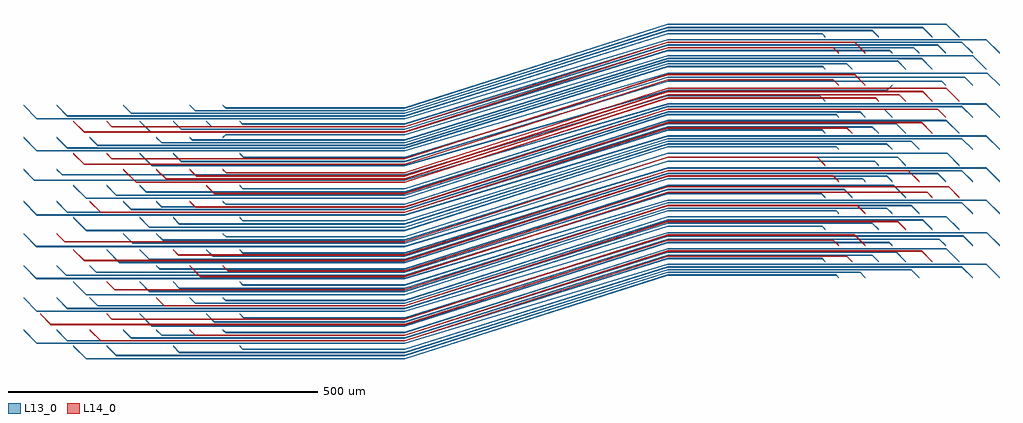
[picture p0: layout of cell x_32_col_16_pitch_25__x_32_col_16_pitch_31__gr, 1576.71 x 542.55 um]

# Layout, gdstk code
import gdstk
lib = gdstk.Library(unit=1e-6, precision=1e-09)
def R(c, l, rs):  # rectangles x0, y0, x1, y1
    for r in rs: c.add(gdstk.rectangle(r[:2], r[2:], *l))
def A(c, l, x, y, w, h, nx, ny, dx, dy):  # array of equal rectangles
    R(c, l, [(x+i*dx, y+j*dy, x+i*dx+w, y+j*dy+h) for i in range(nx) for j in range(ny)])
def P(c, l, *ps):  # polygons
    for p in ps: c.add(gdstk.Polygon(p, *l))
L13_0 = (13, 0)
L14_0 = (14, 0)

x_32_col_16_pitch_25__x_ = lib.new_cell('x_32_col_16_pitch_25__x_32_col_16_pitch_31__gr')
A(x_32_col_16_pitch_25__x_, L13_0, 1360.153, 1466.224, 514.847, 2, 1, 3, 0, 103.68)
A(x_32_col_16_pitch_25__x_, L13_0, 1510.865, 1476.592, 364.135, 2, 1, 3, 0, 103.68)
A(x_32_col_16_pitch_25__x_, L13_0, 1462.352, 1575.088, 412.648, 2, 1, 3, 0, 51.84)
A(x_32_col_16_pitch_25__x_, L13_0, 1613.064, 1585.456, 261.936, 2, 1, 4, 0, 51.84)
A(x_32_col_16_pitch_25__x_, L13_0, 2300, 1601.56, 271.46, 2, 1, 3, 0, 103.68)
A(x_32_col_16_pitch_25__x_, L13_0, 2300, 1610.2, 392.72, 2, 1, 3, 0, 103.68)
A(x_32_col_16_pitch_25__x_, L13_0, 2300, 1680.184, 248.946, 2, 1, 3, 0, 155.52)
A(x_32_col_16_pitch_25__x_, L13_0, 2300, 1685.368, 330.362, 2, 1, 3, 0, 155.52)
A(x_32_col_16_pitch_25__x_, L13_0, 2300, 1695.736, 449.894, 2, 1, 3, 0, 155.52)
A(x_32_col_16_pitch_25__x_, L13_0, 2300, 1709.56, 353.74, 2, 1, 3, 0, 51.84)
A(x_32_col_16_pitch_25__x_, L13_0, 2300, 1718.2, 475, 2, 1, 4, 0, 51.84)
A(x_32_col_16_pitch_25__x_, L13_0, 2300, 1722.52, 513.982, 2, 1, 4, 0, 51.84)
R(x_32_col_16_pitch_25__x_, L13_0, [(1408.662,1471.408,1875,1473.408), (1613.064,1481.776,1875,1483.776), (1280.472,1491.28,1875,1493.28), (1329.85,1495.6,1875,1497.6), (1432.917,1499.92,1875,1501.92), (1482.29,1504.24,1875,1506.24), (1585.36,1508.56,1875,1510.56), (1466.24,1519.36,1875,1521.36), (1567.15,1525.84,1875,1527.84), (1614.36,1532.32,1875,1534.32), (1280.472,1543.12,1875,1545.12), (1329.85,1547.44,1875,1549.44), (1379.22,1551.76,1875,1553.76), (1535.98,1556.08,1875,1558.08), (1585.36,1560.4,1875,1562.4), (1279.608,1595.824,1875,1597.824), (1328.122,1601.008,1875,1603.008), (2300,1605.88,2610.44,1607.88), (1376.628,1606.192,1875,1608.192), (1478.834,1611.376,1875,1613.376), (2300,1614.52,2775,1616.52), (2300,1618.84,2813.982,1620.84), (1413.846,1621.744,1875,1623.744), (2300,1628.344,2548.946,1630.344), (1564.558,1632.112,1875,1634.112), (2300,1633.528,2630.362,1635.528), (2300,1638.712,2668.478,1640.712), (2300,1643.896,2749.894,1645.896), (1279.608,1647.664,1875,1649.664), (1435.509,1652.848,1875,1654.848), (2300,1654.264,2657.196,1656.264), (1484.018,1658.032,1875,1660.032), (2300,1659.448,2738.612,1661.448), (1586.224,1663.216,1875,1665.216), (2300,1664.632,2776.728,1666.632), (2300,1669.816,2814.846,1671.816), (2300,1690.552,2711.778,1692.552), (1280.472,1698.64,1875,1700.64), (1329.85,1702.96,1875,1704.96), (1432.917,1707.28,1875,1709.28), (1482.29,1711.6,1875,1713.6), (1585.36,1715.92,1875,1717.92), (1360.153,1725.424,1875,1727.424), (1408.662,1730.608,1875,1732.608), (2300,1733.32,2547.65,1735.32), (1457.168,1735.792,1875,1737.792), (2300,1739.8,2584.47,1741.8), (2300,1746.28,2664.59,1748.28), (1276.152,1754.8,1875,1756.8), (2300,1757.08,2614.76,1759.08), (1321.21,1763.44,1875,1765.44), (2300,1765.72,2736.02,1767.72), (1466.24,1778.56,1875,1780.56), (1513.457,1785.04,1875,1787.04), (2300,1785.16,2634.25,1787.16), (1614.36,1791.52,1875,1793.52), (2300,1791.64,2671.07,1793.64), (2300,1798.12,2751.19,1800.12), (1280.472,1802.32,1875,1804.32), (1329.85,1806.64,1875,1808.64), (1379.22,1810.96,1875,1812.96), (1482.29,1815.28,1875,1817.28), (1531.66,1819.6,1875,1821.6), (1585.36,1828.24,1875,1830.24), (1464.08,1832.56,1875,1834.56), (1513.457,1836.88,1875,1838.88), (1562.83,1841.2,1875,1843.2), (1612.2,1845.52,1875,1847.52), (2300,1846.072,2668.478,1848.072), (1280.472,1854.16,1875,1856.16), (1329.85,1858.48,1875,1860.48), (2300,1860.76,2571.46,1862.76), (1432.917,1862.8,1875,1864.8), (2300,1865.08,2610.44,1867.08), (1535.98,1867.12,1875,1869.12), (2300,1869.4,2649.42,1871.4), (1585.36,1871.44,1875,1873.44), (2300,1891,2545.49,1893), (2300,1899.64,2653.74,1901.64), (2300,1914.76,2742.5,1916.76), (2300,1921.24,2779.32,1923.24), (2300,1927.72,2816.142,1929.72), (2300,1938.52,2549.81,1940.52), (2300,1942.84,2588.79,1944.84), (2300,1947.16,2671.07,1949.16), (2300,1951.48,2710.05,1953.48), (2300,1955.8,2792.332,1957.8), (2300,1964.44,2658.06,1966.44), (2300,1968.76,2697.04,1970.76), (2300,1973.08,2736.02,1975.08), (2300,1977.4,2775,1979.4), (2300,1981.72,2813.982,1983.72), (2300,2001.592,2711.778,2003.592)])
P(x_32_col_16_pitch_25__x_, L13_0, [(2554.13,1986.04),(2554.13,1988.04),(2548.946,1993.224),(2548.946,1991.224)],
  [(2300,1991.224),(2300,1993.224),(1875,1860.48),(1875,1858.48)],
  [(1329.85,1858.48),(1329.85,1860.48),(1312.57,1877.76),(1312.57,1875.76)],
  [(2640.73,1986.04),(2640.73,1988.04),(2630.362,1998.408),(2630.362,1996.408)],
  [(2300,1996.408),(2300,1998.408),(1875,1864.8),(1875,1862.8)],
  [(1432.917,1862.8),(1432.917,1864.8),(1419.957,1877.76),(1419.957,1875.76)],
  [(2727.33,1986.04),(2727.33,1988.04),(2711.778,2003.592),(2711.778,2001.592)],
  [(2300,2001.592),(2300,2003.592),(1875,1869.12),(1875,1867.12)],
  [(1535.98,1867.12),(1535.98,1869.12),(1527.34,1877.76),(1527.34,1875.76)],
  [(2770.63,1986.04),(2770.63,1988.04),(2749.894,2008.776),(2749.894,2006.776)],
  [(2300,2006.776),(2300,2008.776),(1875,1873.44),(1875,1871.44)],
  [(1585.36,1871.44),(1585.36,1873.44),(1581.04,1877.76),(1581.04,1875.76)],
  [(2662.38,1960.12),(2662.38,1962.12),(2658.06,1966.44),(2658.06,1964.44)],
  [(2300,1964.44),(2300,1966.44),(1875,1834.56),(1875,1832.56)],
  [(1464.08,1832.56),(1464.08,1834.56),(1446.8,1851.84),(1446.8,1849.84)],
  [(2705.68,1960.12),(2705.68,1962.12),(2697.04,1970.76),(2697.04,1968.76)],
  [(2300,1968.76),(2300,1970.76),(1875,1838.88),(1875,1836.88)],
  [(1513.457,1836.88),(1513.457,1838.88),(1500.497,1851.84),(1500.497,1849.84)],
  [(2748.98,1960.12),(2748.98,1962.12),(2736.02,1975.08),(2736.02,1973.08)],
  [(2300,1973.08),(2300,1975.08),(1875,1843.2),(1875,1841.2)],
  [(1562.83,1841.2),(1562.83,1843.2),(1554.19,1851.84),(1554.19,1849.84)],
  [(2792.28,1960.12),(2792.28,1962.12),(2775,1979.4),(2775,1977.4)],
  [(2300,1977.4),(2300,1979.4),(1875,1847.52),(1875,1845.52)],
  [(1612.2,1845.52),(1612.2,1847.52),(1607.88,1851.84),(1607.88,1849.84)],
  [(2835.582,1960.12),(2835.582,1962.12),(2813.982,1983.72),(2813.982,1981.72)],
  [(2300,1981.72),(2300,1983.72),(1875,1856.16),(1875,1854.16)],
  [(1280.472,1854.16),(1280.472,1856.16),(1258.872,1877.76),(1258.872,1875.76)],
  [(2554.13,1934.2),(2554.13,1936.2),(2549.81,1940.52),(2549.81,1938.52)],
  [(2300,1938.52),(2300,1940.52),(1875,1808.64),(1875,1806.64)],
  [(1329.85,1806.64),(1329.85,1808.64),(1312.57,1825.92),(1312.57,1823.92)],
  [(2597.43,1934.2),(2597.43,1936.2),(2588.79,1944.84),(2588.79,1942.84)],
  [(2300,1942.84),(2300,1944.84),(1875,1812.96),(1875,1810.96)],
  [(1379.22,1810.96),(1379.22,1812.96),(1366.26,1825.92),(1366.26,1823.92)],
  [(2684.03,1934.2),(2684.03,1936.2),(2671.07,1949.16),(2671.07,1947.16)],
  [(2300,1947.16),(2300,1949.16),(1875,1817.28),(1875,1815.28)],
  [(1482.29,1815.28),(1482.29,1817.28),(1473.65,1825.92),(1473.65,1823.92)],
  [(2727.33,1934.2),(2727.33,1936.2),(2710.05,1953.48),(2710.05,1951.48)],
  [(2300,1951.48),(2300,1953.48),(1875,1821.6),(1875,1819.6)],
  [(1531.66,1819.6),(1531.66,1821.6),(1527.34,1825.92),(1527.34,1823.92)],
  [(2813.932,1934.2),(2813.932,1936.2),(2792.332,1957.8),(2792.332,1955.8)],
  [(2300,1955.8),(2300,1957.8),(1875,1830.24),(1875,1828.24)],
  [(1585.36,1828.24),(1585.36,1830.24),(1581.04,1825.92),(1581.04,1823.92)],
  [(2662.38,1908.28),(2662.38,1910.28),(2653.74,1901.64),(2653.74,1899.64)],
  [(2300,1899.64),(2300,1901.64),(1875,1780.56),(1875,1778.56)],
  [(1466.24,1778.56),(1466.24,1780.56),(1446.8,1800),(1446.8,1798)],
  [(2748.98,1908.28),(2748.98,1910.28),(2742.5,1916.76),(2742.5,1914.76)],
  [(2300,1914.76),(2300,1916.76),(1875,1787.04),(1875,1785.04)],
  [(1513.457,1785.04),(1513.457,1787.04),(1500.497,1800),(1500.497,1798)],
  [(2792.28,1908.28),(2792.28,1910.28),(2779.32,1923.24),(2779.32,1921.24)],
  [(2300,1921.24),(2300,1923.24),(1875,1793.52),(1875,1791.52)],
  [(1614.36,1791.52),(1614.36,1793.52),(1607.88,1800),(1607.88,1798)],
  [(2835.582,1908.28),(2835.582,1910.28),(2816.142,1929.72),(2816.142,1927.72)],
  [(2300,1927.72),(2300,1929.72),(1875,1804.32),(1875,1802.32)],
  [(1280.472,1802.32),(1280.472,1804.32),(1258.872,1825.92),(1258.872,1823.92)],
  [(2554.13,1882.36),(2554.13,1884.36),(2545.49,1893),(2545.49,1891)],
  [(2300,1891),(2300,1893),(1875,1765.44),(1875,1763.44)],
  [(1321.21,1763.44),(1321.21,1765.44),(1312.57,1774.08),(1312.57,1772.08)],
  [(2575.78,1856.44),(2575.78,1858.44),(2571.46,1862.76),(2571.46,1860.76)],
  [(2300,1860.76),(2300,1862.76),(1875,1727.424),(1875,1725.424)],
  [(1360.153,1725.424),(1360.153,1727.424),(1339.417,1748.16),(1339.417,1746.16)],
  [(2619.08,1856.44),(2619.08,1858.44),(2610.44,1867.08),(2610.44,1865.08)],
  [(2300,1865.08),(2300,1867.08),(1875,1732.608),(1875,1730.608)],
  [(1408.662,1730.608),(1408.662,1732.608),(1393.11,1748.16),(1393.11,1746.16)],
  [(2662.38,1856.44),(2662.38,1858.44),(2649.42,1871.4),(2649.42,1869.4)],
  [(2300,1869.4),(2300,1871.4),(1875,1737.792),(1875,1735.792)],
  [(1457.168,1735.792),(1457.168,1737.792),(1446.8,1748.16),(1446.8,1746.16)],
  [(2792.28,1856.44),(2792.28,1858.44),(2775,1875.72),(2775,1873.72)],
  [(2300,1873.72),(2300,1875.72),(1875,1742.976),(1875,1740.976)],
  [(1613.064,1740.976),(1613.064,1742.976),(1607.88,1748.16),(1607.88,1746.16)],
  [(2835.582,1856.44),(2835.582,1858.44),(2813.982,1880.04),(2813.982,1878.04)],
  [(2300,1878.04),(2300,1880.04),(1875,1756.8),(1875,1754.8)],
  [(1276.152,1754.8),(1276.152,1756.8),(1258.872,1774.08),(1258.872,1772.08)],
  [(2554.13,1830.52),(2554.13,1832.52),(2548.946,1837.704),(2548.946,1835.704)],
  [(2300,1835.704),(2300,1837.704),(1875,1704.96),(1875,1702.96)],
  [(1329.85,1702.96),(1329.85,1704.96),(1312.57,1722.24),(1312.57,1720.24)],
  [(2640.73,1830.52),(2640.73,1832.52),(2630.362,1842.888),(2630.362,1840.888)],
  [(2300,1840.888),(2300,1842.888),(1875,1709.28),(1875,1707.28)],
  [(1432.917,1707.28),(1432.917,1709.28),(1419.957,1722.24),(1419.957,1720.24)],
  [(2684.03,1830.52),(2684.03,1832.52),(2668.478,1848.072),(2668.478,1846.072)],
  [(2300,1846.072),(2300,1848.072),(1875,1713.6),(1875,1711.6)],
  [(1482.29,1711.6),(1482.29,1713.6),(1473.65,1722.24),(1473.65,1720.24)],
  [(2770.63,1830.52),(2770.63,1832.52),(2749.894,1853.256),(2749.894,1851.256)],
  [(2300,1851.256),(2300,1853.256),(1875,1717.92),(1875,1715.92)],
  [(1585.36,1715.92),(1585.36,1717.92),(1581.04,1722.24),(1581.04,1720.24)],
  [(2575.78,1804.6),(2575.78,1806.6),(2571.46,1810.92),(2571.46,1808.92)],
  [(2300,1808.92),(2300,1810.92),(1875,1675.584),(1875,1673.584)],
  [(1360.153,1673.584),(1360.153,1675.584),(1339.417,1696.32),(1339.417,1694.32)],
  [(2662.38,1804.6),(2662.38,1806.6),(2653.74,1815.24),(2653.74,1813.24)],
  [(2300,1813.24),(2300,1815.24),(1875,1680.768),(1875,1678.768)],
  [(1462.352,1678.768),(1462.352,1680.768),(1446.8,1696.32),(1446.8,1694.32)],
  [(2705.68,1804.6),(2705.68,1806.6),(2692.72,1819.56),(2692.72,1817.56)],
  [(2300,1817.56),(2300,1819.56),(1875,1685.952),(1875,1683.952)],
  [(1510.865,1683.952),(1510.865,1685.952),(1500.497,1696.32),(1500.497,1694.32)],
  [(2792.28,1804.6),(2792.28,1806.6),(2775,1823.88),(2775,1821.88)],
  [(2300,1821.88),(2300,1823.88),(1875,1691.136),(1875,1689.136)],
  [(1613.064,1689.136),(1613.064,1691.136),(1607.88,1696.32),(1607.88,1694.32)],
  [(2835.582,1804.6),(2835.582,1806.6),(2813.982,1828.2),(2813.982,1826.2)],
  [(2300,1826.2),(2300,1828.2),(1875,1700.64),(1875,1698.64)],
  [(1280.472,1698.64),(1280.472,1700.64),(1258.872,1722.24),(1258.872,1720.24)],
  [(2640.73,1778.68),(2640.73,1780.68),(2634.25,1787.16),(2634.25,1785.16)],
  [(2300,1785.16),(2300,1787.16),(1875,1654.848),(1875,1652.848)],
  [(1435.509,1652.848),(1435.509,1654.848),(1419.957,1670.4),(1419.957,1668.4)],
  [(2684.03,1778.68),(2684.03,1780.68),(2671.07,1793.64),(2671.07,1791.64)],
  [(2300,1791.64),(2300,1793.64),(1875,1660.032),(1875,1658.032)],
  [(1484.018,1658.032),(1484.018,1660.032),(1473.65,1670.4),(1473.65,1668.4)],
  [(2770.63,1778.68),(2770.63,1780.68),(2751.19,1800.12),(2751.19,1798.12)],
  [(2300,1798.12),(2300,1800.12),(1875,1665.216),(1875,1663.216)],
  [(1586.224,1663.216),(1586.224,1665.216),(1581.04,1670.4),(1581.04,1668.4)],
  [(2619.08,1752.76),(2619.08,1754.76),(2614.76,1759.08),(2614.76,1757.08)],
  [(2300,1757.08),(2300,1759.08),(1875,1623.744),(1875,1621.744)],
  [(1413.846,1621.744),(1413.846,1623.744),(1393.11,1644.48),(1393.11,1642.48)],
  [(2662.38,1752.76),(2662.38,1754.76),(2653.74,1763.4),(2653.74,1761.4)],
  [(2300,1761.4),(2300,1763.4),(1875,1628.928),(1875,1626.928)],
  [(1462.352,1626.928),(1462.352,1628.928),(1446.8,1644.48),(1446.8,1642.48)],
  [(2748.98,1752.76),(2748.98,1754.76),(2736.02,1767.72),(2736.02,1765.72)],
  [(2300,1765.72),(2300,1767.72),(1875,1634.112),(1875,1632.112)],
  [(1564.558,1632.112),(1564.558,1634.112),(1554.19,1644.48),(1554.19,1642.48)],
  [(2792.28,1752.76),(2792.28,1754.76),(2775,1772.04),(2775,1770.04)],
  [(2300,1770.04),(2300,1772.04),(1875,1639.296),(1875,1637.296)],
  [(1613.064,1637.296),(1613.064,1639.296),(1607.88,1644.48),(1607.88,1642.48)],
  [(2835.582,1752.76),(2835.582,1754.76),(2813.982,1776.36),(2813.982,1774.36)],
  [(2300,1774.36),(2300,1776.36),(1875,1649.664),(1875,1647.664)],
  [(1279.608,1647.664),(1279.608,1649.664),(1258.872,1670.4),(1258.872,1668.4)],
  [(2554.13,1726.84),(2554.13,1728.84),(2547.65,1735.32),(2547.65,1733.32)],
  [(2300,1733.32),(2300,1735.32),(1875,1603.008),(1875,1601.008)],
  [(1328.122,1601.008),(1328.122,1603.008),(1312.57,1618.56),(1312.57,1616.56)],
  [(2597.43,1726.84),(2597.43,1728.84),(2584.47,1741.8),(2584.47,1739.8)],
  [(2300,1739.8),(2300,1741.8),(1875,1608.192),(1875,1606.192)],
  [(1376.628,1606.192),(1376.628,1608.192),(1366.26,1618.56),(1366.26,1616.56)],
  [(2684.03,1726.84),(2684.03,1728.84),(2664.59,1748.28),(2664.59,1746.28)],
  [(2300,1746.28),(2300,1748.28),(1875,1613.376),(1875,1611.376)],
  [(1478.834,1611.376),(1478.834,1613.376),(1473.65,1618.56),(1473.65,1616.56)],
  [(2575.78,1700.92),(2575.78,1702.92),(2571.46,1707.24),(2571.46,1705.24)],
  [(2300,1705.24),(2300,1707.24),(1875,1571.904),(1875,1569.904)],
  [(1360.153,1569.904),(1360.153,1571.904),(1339.417,1592.64),(1339.417,1590.64)],
  [(2662.38,1700.92),(2662.38,1702.92),(2653.74,1711.56),(2653.74,1709.56)],
  [(2300,1709.56),(2300,1711.56),(1875,1577.088),(1875,1575.088)],
  [(1462.352,1575.088),(1462.352,1577.088),(1446.8,1592.64),(1446.8,1590.64)],
  [(2705.68,1700.92),(2705.68,1702.92),(2692.72,1715.88),(2692.72,1713.88)],
  [(2300,1713.88),(2300,1715.88),(1875,1582.272),(1875,1580.272)],
  [(1510.865,1580.272),(1510.865,1582.272),(1500.497,1592.64),(1500.497,1590.64)],
  [(2792.28,1700.92),(2792.28,1702.92),(2775,1720.2),(2775,1718.2)],
  [(2300,1718.2),(2300,1720.2),(1875,1587.456),(1875,1585.456)],
  [(1613.064,1585.456),(1613.064,1587.456),(1607.88,1592.64),(1607.88,1590.64)],
  [(2835.582,1700.92),(2835.582,1702.92),(2813.982,1724.52),(2813.982,1722.52)],
  [(2300,1722.52),(2300,1724.52),(1875,1597.824),(1875,1595.824)],
  [(1279.608,1595.824),(1279.608,1597.824),(1258.872,1618.56),(1258.872,1616.56)],
  [(2554.13,1675),(2554.13,1677),(2548.946,1682.184),(2548.946,1680.184)],
  [(2300,1680.184),(2300,1682.184),(1875,1549.44),(1875,1547.44)],
  [(1329.85,1547.44),(1329.85,1549.44),(1312.57,1566.72),(1312.57,1564.72)],
  [(2640.73,1675),(2640.73,1677),(2630.362,1687.368),(2630.362,1685.368)],
  [(2300,1685.368),(2300,1687.368),(1875,1553.76),(1875,1551.76)],
  [(1379.22,1551.76),(1379.22,1553.76),(1366.26,1566.72),(1366.26,1564.72)],
  [(2727.33,1675),(2727.33,1677),(2711.778,1692.552),(2711.778,1690.552)],
  [(2300,1690.552),(2300,1692.552),(1875,1558.08),(1875,1556.08)],
  [(1535.98,1556.08),(1535.98,1558.08),(1527.34,1566.72),(1527.34,1564.72)],
  [(2770.63,1675),(2770.63,1677),(2749.894,1697.736),(2749.894,1695.736)],
  [(2300,1695.736),(2300,1697.736),(1875,1562.4),(1875,1560.4)],
  [(1585.36,1560.4),(1585.36,1562.4),(1581.04,1566.72),(1581.04,1564.72)],
  [(2662.38,1649.08),(2662.38,1651.08),(2657.196,1656.264),(2657.196,1654.264)],
  [(2300,1654.264),(2300,1656.264),(1875,1521.36),(1875,1519.36)],
  [(1466.24,1519.36),(1466.24,1521.36),(1446.8,1540.8),(1446.8,1538.8)],
  [(2748.98,1649.08),(2748.98,1651.08),(2738.612,1661.448),(2738.612,1659.448)],
  [(2300,1659.448),(2300,1661.448),(1875,1527.84),(1875,1525.84)],
  [(1567.15,1525.84),(1567.15,1527.84),(1554.19,1540.8),(1554.19,1538.8)],
  [(2792.28,1649.08),(2792.28,1651.08),(2776.728,1666.632),(2776.728,1664.632)],
  [(2300,1664.632),(2300,1666.632),(1875,1534.32),(1875,1532.32)],
  [(1614.36,1532.32),(1614.36,1534.32),(1607.88,1540.8),(1607.88,1538.8)],
  [(2835.582,1649.08),(2835.582,1651.08),(2814.846,1671.816),(2814.846,1669.816)],
  [(2300,1669.816),(2300,1671.816),(1875,1545.12),(1875,1543.12)],
  [(1280.472,1543.12),(1280.472,1545.12),(1258.872,1566.72),(1258.872,1564.72)],
  [(2554.13,1623.16),(2554.13,1625.16),(2548.946,1630.344),(2548.946,1628.344)],
  [(2300,1628.344),(2300,1630.344),(1875,1497.6),(1875,1495.6)],
  [(1329.85,1495.6),(1329.85,1497.6),(1312.57,1514.88),(1312.57,1512.88)],
  [(2640.73,1623.16),(2640.73,1625.16),(2630.362,1635.528),(2630.362,1633.528)],
  [(2300,1633.528),(2300,1635.528),(1875,1501.92),(1875,1499.92)],
  [(1432.917,1499.92),(1432.917,1501.92),(1419.957,1514.88),(1419.957,1512.88)],
  [(2684.03,1623.16),(2684.03,1625.16),(2668.478,1640.712),(2668.478,1638.712)],
  [(2300,1638.712),(2300,1640.712),(1875,1506.24),(1875,1504.24)],
  [(1482.29,1504.24),(1482.29,1506.24),(1473.65,1514.88),(1473.65,1512.88)],
  [(2770.63,1623.16),(2770.63,1625.16),(2749.894,1645.896),(2749.894,1643.896)],
  [(2300,1643.896),(2300,1645.896),(1875,1510.56),(1875,1508.56)],
  [(1585.36,1508.56),(1585.36,1510.56),(1581.04,1514.88),(1581.04,1512.88)],
  [(2575.78,1597.24),(2575.78,1599.24),(2571.46,1603.56),(2571.46,1601.56)],
  [(2300,1601.56),(2300,1603.56),(1875,1468.224),(1875,1466.224)],
  [(1360.153,1466.224),(1360.153,1468.224),(1339.417,1488.96),(1339.417,1486.96)],
  [(2619.08,1597.24),(2619.08,1599.24),(2610.44,1607.88),(2610.44,1605.88)],
  [(2300,1605.88),(2300,1607.88),(1875,1473.408),(1875,1471.408)],
  [(1408.662,1471.408),(1408.662,1473.408),(1393.11,1488.96),(1393.11,1486.96)],
  [(2705.68,1597.24),(2705.68,1599.24),(2692.72,1612.2),(2692.72,1610.2)],
  [(2300,1610.2),(2300,1612.2),(1875,1478.592),(1875,1476.592)],
  [(1510.865,1476.592),(1510.865,1478.592),(1500.497,1488.96),(1500.497,1486.96)],
  [(2792.28,1597.24),(2792.28,1599.24),(2775,1616.52),(2775,1614.52)],
  [(2300,1614.52),(2300,1616.52),(1875,1483.776),(1875,1481.776)],
  [(1613.064,1481.776),(1613.064,1483.776),(1607.88,1488.96),(1607.88,1486.96)],
  [(2835.582,1597.24),(2835.582,1599.24),(2813.982,1620.84),(2813.982,1618.84)],
  [(2300,1618.84),(2300,1620.84),(1875,1493.28),(1875,1491.28)],
  [(1280.472,1491.28),(1280.472,1493.28),(1258.872,1514.88),(1258.872,1512.88)])
R(x_32_col_16_pitch_25__x_, L14_0, [(1383.54,1495.6,1875,1497.6), (1535.98,1504.24,1875,1506.24), (1303,1521.52,1875,1523.52), (1401.75,1530.16,1875,1532.16), (1486.61,1551.76,1875,1553.76), (1406.07,1577.68,1875,1579.68), (1544.62,1599.28,1875,1601.28), (1589.68,1607.92,1875,1609.92), (1356.697,1625.2,1875,1627.2), (2300,1631.8,2588.79,1633.8), (1509.137,1633.84,1875,1635.84), (2300,1640.44,2710.05,1642.44), (1325.53,1655.44,1875,1657.44), (2300,1657.72,2567.14,1659.72), (2300,1666.36,2601.8,1668.36), (2300,1687.96,2671.07,1689.96), (1383.54,1702.96,1875,1704.96), (1535.98,1711.6,1875,1713.6), (2300,1713.88,2606.12,1715.88), (1567.15,1733.2,1875,1735.2), (2300,1735.48,2718.69,1737.48), (2300,1744.12,2753.35,1746.12), (1440.693,1751.344,1875,1753.344), (1489.202,1756.528,1875,1758.528), (2300,1761.4,2567.14,1763.4), (1537.708,1761.712,1875,1763.712), (1586.224,1766.896,1875,1768.896), (2300,1770.04,2688.4,1772.04), (1356.697,1780.72,1875,1782.72), (1401.75,1789.36,1875,1791.36), (2300,1791.64,2541.17,1793.64), (1356.697,1832.56,1875,1834.56), (2300,1839.16,2588.79,1841.16), (1401.75,1841.2,1875,1843.2), (2300,1847.8,2710.05,1849.8), (2300,1869.4,2736.02,1871.4), (2300,1887.544,2635.546,1889.544), (2300,1892.728,2673.662,1894.728), (2300,1897.912,2711.778,1899.912), (2300,1903.096,2749.894,1905.096), (2300,1916.92,2567.14,1918.92), (2300,1925.56,2601.8,1927.56), (2300,1968.76,2567.14,1970.76), (2300,1977.4,2601.8,1979.4)])
P(x_32_col_16_pitch_25__x_, L14_0, [(2575.78,1960.12),(2575.78,1962.12),(2567.14,1970.76),(2567.14,1968.76)],
  [(2300,1968.76),(2300,1970.76),(1875,1834.56),(1875,1832.56)],
  [(1356.697,1832.56),(1356.697,1834.56),(1339.417,1851.84),(1339.417,1849.84)],
  [(2619.08,1960.12),(2619.08,1962.12),(2601.8,1979.4),(2601.8,1977.4)],
  [(2300,1977.4),(2300,1979.4),(1875,1843.2),(1875,1841.2)],
  [(1401.75,1841.2),(1401.75,1843.2),(1393.11,1851.84),(1393.11,1849.84)],
  [(2575.78,1908.28),(2575.78,1910.28),(2567.14,1918.92),(2567.14,1916.92)],
  [(2300,1916.92),(2300,1918.92),(1875,1782.72),(1875,1780.72)],
  [(1356.697,1780.72),(1356.697,1782.72),(1339.417,1800),(1339.417,1798)],
  [(2619.08,1908.28),(2619.08,1910.28),(2601.8,1927.56),(2601.8,1925.56)],
  [(2300,1925.56),(2300,1927.56),(1875,1791.36),(1875,1789.36)],
  [(1401.75,1789.36),(1401.75,1791.36),(1393.11,1800),(1393.11,1798)],
  [(2640.73,1882.36),(2640.73,1884.36),(2635.546,1889.544),(2635.546,1887.544)],
  [(2300,1887.544),(2300,1889.544),(1875,1753.344),(1875,1751.344)],
  [(1440.693,1751.344),(1440.693,1753.344),(1419.957,1774.08),(1419.957,1772.08)],
  [(2684.03,1882.36),(2684.03,1884.36),(2673.662,1894.728),(2673.662,1892.728)],
  [(2300,1892.728),(2300,1894.728),(1875,1758.528),(1875,1756.528)],
  [(1489.202,1756.528),(1489.202,1758.528),(1473.65,1774.08),(1473.65,1772.08)],
  [(2727.33,1882.36),(2727.33,1884.36),(2711.778,1899.912),(2711.778,1897.912)],
  [(2300,1897.912),(2300,1899.912),(1875,1763.712),(1875,1761.712)],
  [(1537.708,1761.712),(1537.708,1763.712),(1527.34,1774.08),(1527.34,1772.08)],
  [(2770.63,1882.36),(2770.63,1884.36),(2749.894,1905.096),(2749.894,1903.096)],
  [(2300,1903.096),(2300,1905.096),(1875,1768.896),(1875,1766.896)],
  [(1586.224,1766.896),(1586.224,1768.896),(1581.04,1774.08),(1581.04,1772.08)],
  [(2748.98,1856.44),(2748.98,1858.44),(2736.02,1871.4),(2736.02,1869.4)],
  [(2300,1869.4),(2300,1871.4),(1875,1735.2),(1875,1733.2)],
  [(1567.15,1733.2),(1567.15,1735.2),(1554.19,1748.16),(1554.19,1746.16)],
  [(2597.43,1830.52),(2597.43,1832.52),(2588.79,1841.16),(2588.79,1839.16)],
  [(2300,1839.16),(2300,1841.16),(1875,1704.96),(1875,1702.96)],
  [(1383.54,1702.96),(1383.54,1704.96),(1366.26,1722.24),(1366.26,1720.24)],
  [(2727.33,1830.52),(2727.33,1832.52),(2710.05,1849.8),(2710.05,1847.8)],
  [(2300,1847.8),(2300,1849.8),(1875,1713.6),(1875,1711.6)],
  [(1535.98,1711.6),(1535.98,1713.6),(1527.34,1722.24),(1527.34,1720.24)],
  [(2554.13,1778.68),(2554.13,1780.68),(2541.17,1793.64),(2541.17,1791.64)],
  [(2300,1791.64),(2300,1793.64),(1875,1657.44),(1875,1655.44)],
  [(1325.53,1655.44),(1325.53,1657.44),(1312.57,1670.4),(1312.57,1668.4)],
  [(2575.78,1752.76),(2575.78,1754.76),(2567.14,1763.4),(2567.14,1761.4)],
  [(2300,1761.4),(2300,1763.4),(1875,1627.2),(1875,1625.2)],
  [(1356.697,1625.2),(1356.697,1627.2),(1339.417,1644.48),(1339.417,1642.48)],
  [(2705.68,1752.76),(2705.68,1754.76),(2688.4,1772.04),(2688.4,1770.04)],
  [(2300,1770.04),(2300,1772.04),(1875,1635.84),(1875,1633.84)],
  [(1509.137,1633.84),(1509.137,1635.84),(1500.497,1644.48),(1500.497,1642.48)],
  [(2727.33,1726.84),(2727.33,1728.84),(2718.69,1737.48),(2718.69,1735.48)],
  [(2300,1735.48),(2300,1737.48),(1875,1601.28),(1875,1599.28)],
  [(1544.62,1599.28),(1544.62,1601.28),(1527.34,1618.56),(1527.34,1616.56)],
  [(2770.63,1726.84),(2770.63,1728.84),(2753.35,1746.12),(2753.35,1744.12)],
  [(2300,1744.12),(2300,1746.12),(1875,1609.92),(1875,1607.92)],
  [(1589.68,1607.92),(1589.68,1609.92),(1581.04,1618.56),(1581.04,1616.56)],
  [(2619.08,1700.92),(2619.08,1702.92),(2606.12,1715.88),(2606.12,1713.88)],
  [(2300,1713.88),(2300,1715.88),(1875,1579.68),(1875,1577.68)],
  [(1406.07,1577.68),(1406.07,1579.68),(1393.11,1592.64),(1393.11,1590.64)],
  [(2684.03,1675),(2684.03,1677),(2671.07,1689.96),(2671.07,1687.96)],
  [(2300,1687.96),(2300,1689.96),(1875,1553.76),(1875,1551.76)],
  [(1486.61,1551.76),(1486.61,1553.76),(1473.65,1566.72),(1473.65,1564.72)],
  [(2575.78,1649.08),(2575.78,1651.08),(2567.14,1659.72),(2567.14,1657.72)],
  [(2300,1657.72),(2300,1659.72),(1875,1523.52),(1875,1521.52)],
  [(1303,1521.52),(1303,1523.52),(1285.72,1540.8),(1285.72,1538.8)],
  [(2619.08,1649.08),(2619.08,1651.08),(2601.8,1668.36),(2601.8,1666.36)],
  [(2300,1666.36),(2300,1668.36),(1875,1532.16),(1875,1530.16)],
  [(1401.75,1530.16),(1401.75,1532.16),(1393.11,1540.8),(1393.11,1538.8)],
  [(2597.43,1623.16),(2597.43,1625.16),(2588.79,1633.8),(2588.79,1631.8)],
  [(2300,1631.8),(2300,1633.8),(1875,1497.6),(1875,1495.6)],
  [(1383.54,1495.6),(1383.54,1497.6),(1366.26,1514.88),(1366.26,1512.88)],
  [(2727.33,1623.16),(2727.33,1625.16),(2710.05,1642.44),(2710.05,1640.44)],
  [(2300,1640.44),(2300,1642.44),(1875,1506.24),(1875,1504.24)],
  [(1535.98,1504.24),(1535.98,1506.24),(1527.34,1514.88),(1527.34,1512.88)])

lib.write_gds('x_32_col_16_pitch_25__x_32_col_16_pitch_31__gr.gds')
